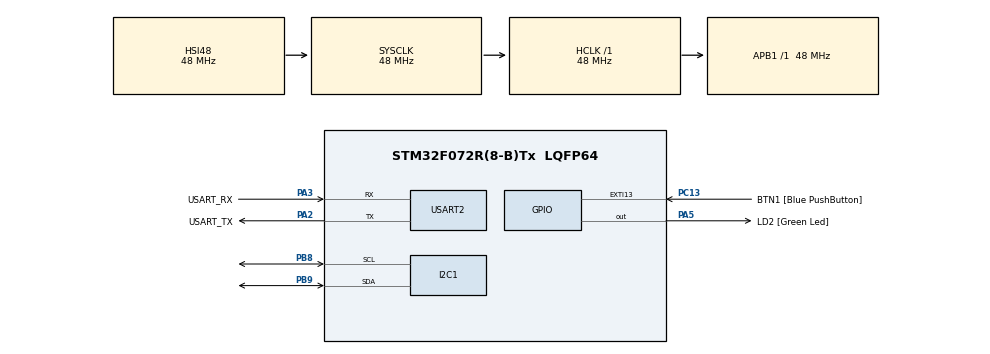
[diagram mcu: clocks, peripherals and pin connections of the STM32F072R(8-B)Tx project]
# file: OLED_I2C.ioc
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Mcu.Family=STM32F0
Mcu.Name=STM32F072R(8-B)Tx
Mcu.Package=LQFP64
PA13.GPIO_Label=TMS
PA13.Mode=Serial_Wire
PA13.Signal=SYS_SWDIO
PA14.GPIO_Label=TCK
PA14.Mode=Serial_Wire
PA14.Signal=SYS_SWCLK
PA2.GPIO_Label=USART_TX
PA2.GPIO_Mode=GPIO_MODE_AF_PP
PA2.GPIO_PuPd=GPIO_NOPULL
PA2.GPIO_Speed=GPIO_SPEED_FREQ_LOW
PA2.Mode=Asynchronous
PA2.Signal=USART2_TX
PA3.GPIO_Label=USART_RX
PA3.GPIO_Mode=GPIO_MODE_AF_PP
PA3.GPIO_PuPd=GPIO_NOPULL
PA3.GPIO_Speed=GPIO_SPEED_FREQ_LOW
PA3.Mode=Asynchronous
PA3.Signal=USART2_RX
PA5.GPIO_Label=LD2 [Green Led]
PA5.GPIO_Mode=GPIO_MODE_OUTPUT_PP
PA5.GPIO_PuPd=GPIO_NOPULL
PA5.GPIO_Speed=GPIO_SPEED_FREQ_LOW
PA5.Signal=GPIO_Output
PB8.Mode=I2C
PB8.Signal=I2C1_SCL
PB9.Mode=I2C
PB9.Signal=I2C1_SDA
PC13.GPIO_Label=BTN1 [Blue PushButton]
PC13.GPIO_ModeDefaultEXTI=GPIO_MODE_IT_FALLING
PC13.Signal=GPXTI13
PC14-OSC32_IN.Mode=LSE-External-Oscillator
PC14-OSC32_IN.Signal=RCC_OSC32_IN
PC15-OSC32_OUT.Mode=LSE-External-Oscillator
PC15-OSC32_OUT.Signal=RCC_OSC32_OUT
PF0-OSC_IN.Mode=HSE-External-Clock-Source
PF0-OSC_IN.Signal=RCC_OSC_IN
PF1-OSC_OUT.Signal=RCC_OSC_OUT
ProjectManager.HeapSize=0x200
ProjectManager.StackSize=0x400
ProjectManager.TargetToolchain=STM32CubeIDE
RCC.AHBFreq_Value=48000000
RCC.APB1Freq_Value=48000000
RCC.APB1TimFreq_Value=48000000
RCC.FLatency-AdvancedSettings=FLASH_LATENCY_1
RCC.HCLKFreq_Value=48000000
RCC.PLLDivider=RCC_PREDIV_DIV2
RCC.PLLMUL=RCC_PLL_MUL12
RCC.PREFETCH_ENABLE-AdvancedSettings=1
RCC.SYSCLKFreq_VALUE=48000000
RCC.SYSCLKSource=RCC_SYSCLKSOURCE_HSI48
USART2.VirtualMode=VM_ASYNC
USART2.VirtualMode-Asynchronous=VM_ASYNC
board=NUCLEO-F072RB

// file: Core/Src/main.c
/* USER CODE BEGIN Header */
/**
  ******************************************************************************
  * @file           : main.c
  * @brief          : Main program body
  ******************************************************************************
  * @attention
  *
  * <h2><center>&copy; Copyright (c) 2021 JAKTOOL.
  * All rights reserved.</center></h2>
  *
  *
  *	Unauthorized copying of this file, via any medium is strictly prohibited.
  *	Proprietary and confidential
  *
  ******************************************************************************
  */
/* USER CODE END Header */
#include "main.h"

/* USER CODE BEGIN Includes */
#include "ssd1306.h"
#include "ssd1306_tests.h"
#include <stdbool.h>
#include <BitmapLibrary.h>
#include "OLED.h"

/* USER CODE END Includes */

I2C_HandleTypeDef hi2c1;

UART_HandleTypeDef huart2;

void SystemClock_Config(void);
static void MX_GPIO_Init(void);
static void MX_USART2_UART_Init(void);
static void MX_I2C1_Init(void);

/* USER CODE BEGIN 0 */

/******************************************************************************************************
* @fn					- programInit
* @brief				- Initialization of hardware, runs on startup
* @param[in]			- void
* @return				- void
*
* @note					-
******************************************************************************************************/
void programInit() {
	//HAL_GPIO_WritePin(SPI_Led_GPIO_Port, SPI_Led_Pin, GPIO_PIN_RESET);
	HAL_GPIO_WritePin(LD2_GPIO_Port, LD2_Pin, GPIO_PIN_RESET);
}

void loop() {

	// Blue button pressed - repeat the test
    if(HAL_GPIO_ReadPin(BTN1_GPIO_Port, BTN1_Pin) == GPIO_PIN_RESET) {
		// Indicate that test is running
		HAL_GPIO_WritePin(LD2_GPIO_Port, LD2_Pin, GPIO_PIN_SET);
		//HAL_Delay(150);

		//ssd1306_TestAll();
		//ssd1306_drawLightningArrow();
		drawBitmap(7, 20, (uint8_t *)JaktoolLogoBMP, JaktoolLogoWidth, JaktoolLogoHeight, White, Black);

		HAL_Delay(150);

		//Just screwing around....
		clearScreen(Black);
		ssd1306_UpdateScreen();

		writeLargeFont(0, 2, White, "OLED");
		writeMedFont(75, 2, White, "Pgm");
		writeSmFont(0, 30, White, "Initializing...");
		writeTinyFont(50, 45, White, " /_(-_~)_/ ");

		HAL_Delay(150);

		// with the ssd lib
		ssd1306_Fill(White);
		ssd1306_UpdateScreen();

		ssd1306_SetCursor(10, 2);
		ssd1306_WriteString("OLED", Font_16x26, Black);
		ssd1306_SetCursor(85, 2);
		ssd1306_WriteString("Pgm", Font_11x18, Black);
		ssd1306_SetCursor(10, 30);
		ssd1306_WriteString("Initializing...", Font_7x10, Black);
		ssd1306_SetCursor(40, 45);
		ssd1306_WriteString(" /_(-_~)_/ ", Font_6x8, Black);

		ssd1306_UpdateScreen();
		HAL_GPIO_WritePin(LD2_GPIO_Port, LD2_Pin, GPIO_PIN_RESET);

    }

	// Blink an LED
	//HAL_GPIO_TogglePin(LD2_GPIO_Port, LD2_Pin);
	//HAL_Delay(150);
}
/* USER CODE END 0 */

int main(void)
{

  /* MCU Configuration--------------------------------------------------------*/

  /* Reset of all peripherals, Initializes the Flash interface and the Systick. */
  HAL_Init();

  /* Configure the system clock */
  SystemClock_Config();

  /* Initialize all configured peripherals */
  MX_GPIO_Init();
  MX_USART2_UART_Init();
  MX_I2C1_Init();
  /* USER CODE BEGIN 2 */

  programInit();
  ssd1306_Init();

  /* USER CODE END 2 */

  /* Infinite loop */
  /* USER CODE BEGIN WHILE */
  while (1)
  {

	  loop();
	  //HAL_GPIO_TogglePin(LD2_GPIO_Port, LD2_Pin);
	  //HAL_Delay(250);

    /* USER CODE END WHILE */

  }
}

void SystemClock_Config(void)
{
  RCC_OscInitTypeDef RCC_OscInitStruct = {0};
  RCC_ClkInitTypeDef RCC_ClkInitStruct = {0};
  RCC_PeriphCLKInitTypeDef PeriphClkInit = {0};

  /** Initializes the RCC Oscillators according to the specified parameters
  * in the RCC_OscInitTypeDef structure.
  */
  RCC_OscInitStruct.OscillatorType = RCC_OSCILLATORTYPE_HSI|RCC_OSCILLATORTYPE_HSI48;
  RCC_OscInitStruct.HSIState = RCC_HSI_ON;
  RCC_OscInitStruct.HSI48State = RCC_HSI48_ON;
  RCC_OscInitStruct.HSICalibrationValue = RCC_HSICALIBRATION_DEFAULT;
  RCC_OscInitStruct.PLL.PLLState = RCC_PLL_NONE;
  if (HAL_RCC_OscConfig(&RCC_OscInitStruct) != HAL_OK)
  {
    Error_Handler();
  }
  /** Initializes the CPU, AHB and APB buses clocks
  */
  RCC_ClkInitStruct.ClockType = RCC_CLOCKTYPE_HCLK|RCC_CLOCKTYPE_SYSCLK
                              |RCC_CLOCKTYPE_PCLK1;
  RCC_ClkInitStruct.SYSCLKSource = RCC_SYSCLKSOURCE_HSI48;
  RCC_ClkInitStruct.AHBCLKDivider = RCC_SYSCLK_DIV1;
  RCC_ClkInitStruct.APB1CLKDivider = RCC_HCLK_DIV1;

  if (HAL_RCC_ClockConfig(&RCC_ClkInitStruct, FLASH_LATENCY_1) != HAL_OK)
  {
    Error_Handler();
  }
  PeriphClkInit.PeriphClockSelection = RCC_PERIPHCLK_USART2|RCC_PERIPHCLK_I2C1;
  PeriphClkInit.Usart2ClockSelection = RCC_USART2CLKSOURCE_PCLK1;
  PeriphClkInit.I2c1ClockSelection = RCC_I2C1CLKSOURCE_HSI;
  if (HAL_RCCEx_PeriphCLKConfig(&PeriphClkInit) != HAL_OK)
  {
    Error_Handler();
  }
}

static void MX_I2C1_Init(void)
{

  hi2c1.Instance = I2C1;
  hi2c1.Init.Timing = 0x2000090E;
  hi2c1.Init.OwnAddress1 = 0;
  hi2c1.Init.AddressingMode = I2C_ADDRESSINGMODE_7BIT;
  hi2c1.Init.DualAddressMode = I2C_DUALADDRESS_DISABLE;
  hi2c1.Init.OwnAddress2 = 0;
  hi2c1.Init.OwnAddress2Masks = I2C_OA2_NOMASK;
  hi2c1.Init.GeneralCallMode = I2C_GENERALCALL_DISABLE;
  hi2c1.Init.NoStretchMode = I2C_NOSTRETCH_DISABLE;
  if (HAL_I2C_Init(&hi2c1) != HAL_OK)
  {
    Error_Handler();
  }
  /** Configure Analogue filter
  */
  if (HAL_I2CEx_ConfigAnalogFilter(&hi2c1, I2C_ANALOGFILTER_ENABLE) != HAL_OK)
  {
    Error_Handler();
  }
  /** Configure Digital filter
  */
  if (HAL_I2CEx_ConfigDigitalFilter(&hi2c1, 0) != HAL_OK)
  {
    Error_Handler();
  }

}

static void MX_USART2_UART_Init(void)
{

  huart2.Instance = USART2;
  huart2.Init.BaudRate = 38400;
  huart2.Init.WordLength = UART_WORDLENGTH_8B;
  huart2.Init.StopBits = UART_STOPBITS_1;
  huart2.Init.Parity = UART_PARITY_NONE;
  huart2.Init.Mode = UART_MODE_TX_RX;
  huart2.Init.HwFlowCtl = UART_HWCONTROL_NONE;
  huart2.Init.OverSampling = UART_OVERSAMPLING_16;
  huart2.Init.OneBitSampling = UART_ONE_BIT_SAMPLE_DISABLE;
  huart2.AdvancedInit.AdvFeatureInit = UART_ADVFEATURE_NO_INIT;
  if (HAL_UART_Init(&huart2) != HAL_OK)
  {
    Error_Handler();
  }

}

static void MX_GPIO_Init(void)
{
  GPIO_InitTypeDef GPIO_InitStruct = {0};

  /* GPIO Ports Clock Enable */
  __HAL_RCC_GPIOC_CLK_ENABLE();
  __HAL_RCC_GPIOF_CLK_ENABLE();
  __HAL_RCC_GPIOA_CLK_ENABLE();
  __HAL_RCC_GPIOB_CLK_ENABLE();

  /*Configure GPIO pin Output Level */
  HAL_GPIO_WritePin(LD2_GPIO_Port, LD2_Pin, GPIO_PIN_RESET);

  /*Configure GPIO pin : BTN1_Pin */
  GPIO_InitStruct.Pin = BTN1_Pin;
  GPIO_InitStruct.Mode = GPIO_MODE_IT_FALLING;
  GPIO_InitStruct.Pull = GPIO_NOPULL;
  HAL_GPIO_Init(BTN1_GPIO_Port, &GPIO_InitStruct);

  /*Configure GPIO pin : LD2_Pin */
  GPIO_InitStruct.Pin = LD2_Pin;
  GPIO_InitStruct.Mode = GPIO_MODE_OUTPUT_PP;
  GPIO_InitStruct.Pull = GPIO_NOPULL;
  GPIO_InitStruct.Speed = GPIO_SPEED_FREQ_LOW;
  HAL_GPIO_Init(LD2_GPIO_Port, &GPIO_InitStruct);

}

void Error_Handler(void)
{
  __disable_irq();
  while (1)
  {
  }
}

/************************ (C) COPYRIGHT STMicroelectronics *****END OF FILE****/
